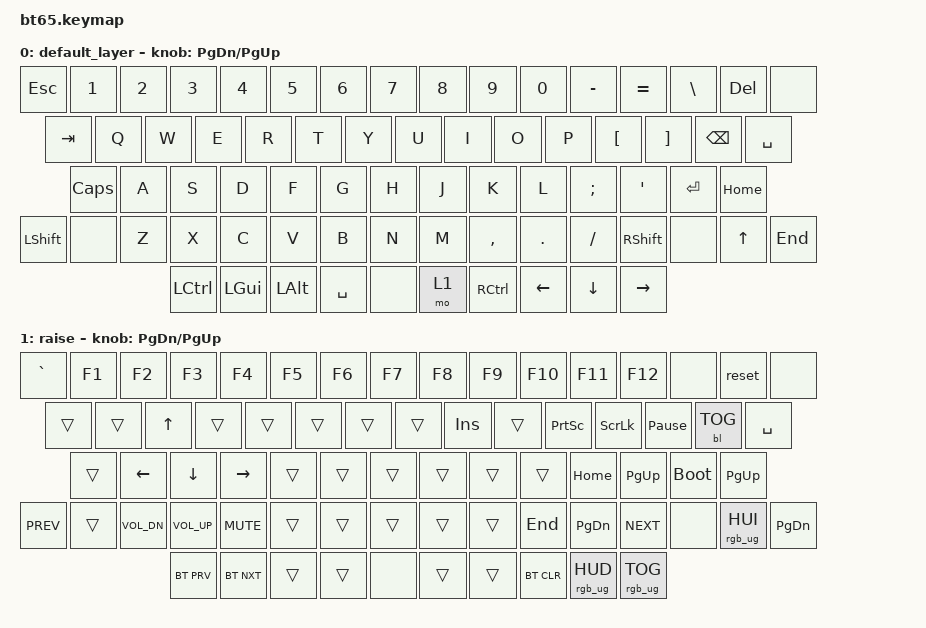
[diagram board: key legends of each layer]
#include <behaviors.dtsi>
#include <dt-bindings/zmk/keys.h>
#include <dt-bindings/zmk/bt.h>
#include <dt-bindings/zmk/rgb.h>
#include <dt-bindings/zmk/backlight.h>
#include <dt-bindings/zmk/ext_power.h>


/ {
	keymap {
		compatible = "zmk,keymap";

		default_layer {
				// ------------------------------------------------------------------------------------------------------------
				// |  `  |  1  |  2  |  3  |  4  |  5  |  6  |  7  |  8  |  9  |  0  |  -  |  =  | \ | DEL |     NONE   	|
				// | TAB  |  Q  |  W  |  E  |  R  |  T  |  Y  |  U  |  I  |  O  |  P  |  [  |  ]  |   BSPC    |      SPACE	|
				// | CAPS  |  A  |  S  |  D  |  F  |  G  |  H  |  J  |  K  |  L  |  ;  |  '  |     ENTER         |   HOME	|
				// |  SHIFT| NONE |  Z  |  X  |  C  |  V  |  B  |  N  |  M  |  ,  |  .  | /   |   SHIFT  | UP    |   END    |
				// |  LCTL  |  LALT  |  LCMD  |            SPACE               | NONE |  RCMD |  1 | LEFT | DOWN |  RIGHT	|
				// ------------------------------------------------------------------------------------------------------------
			bindings = <

				&kp ESC &kp N1 &kp N2 &kp N3 &kp N4 &kp N5 &kp N6 &kp N7 &kp  N8   &kp  N9   &kp N0 &kp MINUS &kp EQUAL &kp BSLH &kp DEL &none
				&kp TAB  &kp Q  &kp W  &kp E  &kp R  &kp T  &kp Y  &kp U  &kp  I    &kp  O  &kp  P   &kp LBKT &kp RBKT  	&kp BSPC  &kp SPACE
				&kp CLCK  &kp A  &kp S  &kp D  &kp F  &kp G  &kp H  &kp J  &kp  K    &kp  L  &kp SEMI &kp SQT           	&kp RET   &kp HOME
				&kp LSHFT &none &kp Z  &kp X  &kp C  &kp V  &kp B  &kp N  &kp M  &kp COMMA &kp DOT &kp FSLH   &kp RSHFT &none &kp UP  &kp END
				&kp LCTRL &kp LGUI &kp LALT            &kp SPACE                          &none  &mo 1 &kp RCTRL &kp LEFT &kp DOWN &kp RIGHT
			>;
			sensor-bindings = <&inc_dec_kp PG_DN PG_UP>;
		};
		raise {
			bindings = <
				&kp GRAVE &kp F1 &kp F2 &kp F3 &kp F4 &kp F5 &kp F6 &kp F7 &kp  F8   &kp  F9   &kp F10  &kp F11 &kp F12 &none &reset &none
				&trans &trans &kp UP &trans &trans &trans &trans &trans &kp INS &trans &kp PSCRN &kp SLCK &kp PAUSE_BREAK &bl BL_TOG &kp SPACE
				&trans    &kp LEFT &kp DOWN &kp RIGHT &trans &trans &trans &trans &trans &trans &kp HOME  &kp PG_UP   &bootloader &kp PG_UP
				&kp C_PREV &trans &kp C_VOL_DN &kp C_VOL_UP &kp C_MUTE &trans &trans &trans &trans &trans &kp END &kp PG_DN  &kp C_NEXT &none &rgb_ug RGB_HUI &kp PG_DN
				&bt BT_PRV &bt BT_NXT  &trans              &trans                            &none   &trans   &trans &bt BT_CLR &rgb_ug RGB_HUD &rgb_ug RGB_TOG
			>;
			sensor-bindings = <&inc_dec_kp PG_DN PG_UP>;
		};
	};
};
